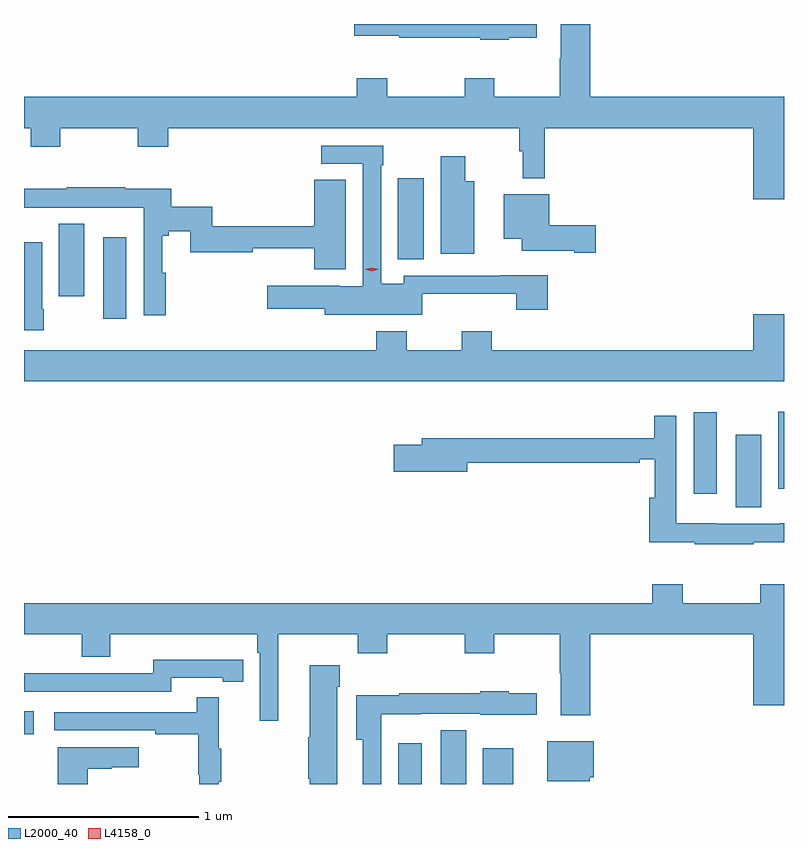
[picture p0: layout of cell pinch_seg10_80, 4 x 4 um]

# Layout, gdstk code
import gdstk
lib = gdstk.Library(unit=1e-6, precision=1e-09)
def R(c, l, rs):  # rectangles x0, y0, x1, y1
    for r in rs: c.add(gdstk.rectangle(r[:2], r[2:], *l))
def P(c, l, *ps):  # polygons
    for p in ps: c.add(gdstk.Polygon(p, *l))
L2000_40 = (2000, 40)
L4158_0 = (4158, 0)

pinch_seg10_80 = lib.new_cell('pinch_seg10_80')
R(pinch_seg10_80, L2000_40, [(774.53,1286.208,774.652,1286.422), (774.752,1286.208,774.886,1286.492), (774.974,1286.208,775.135,1286.395), (772.559,1286.469,772.609,1286.59), (776.306,1287.664,776.44,1288.045), (776.084,1287.735,776.206,1288.165), (776.528,1287.762,776.559,1288.168), (772.976,1288.656,773.098,1289.086), (772.742,1288.776,772.876,1289.156), (774.527,1288.969,774.664,1289.395)])
P(pinch_seg10_80, L2000_40, [(775.11,1290.135),(775.258,1290.135),(775.258,1290.208),(774.296,1290.208),(774.296,1290.145),(774.535,1290.145),(774.535,1290.135),(774.96,1290.135),(774.96,1290.125),(775.11,1290.125)],
  [(776.396,1289.286),(776.559,1289.286),(776.559,1289.824),(775.538,1289.824),(775.538,1290.208),(775.385,1290.208),(775.385,1290.029),(775.378,1290.029),(775.378,1289.824),(775.035,1289.824),(775.035,1289.923),(774.88,1289.923),(774.88,1289.824),(774.471,1289.824),(774.471,1289.923),(774.311,1289.923),(774.311,1289.824),(772.559,1289.824),(772.559,1289.66),(772.594,1289.66),(772.594,1289.561),(772.749,1289.561),(772.749,1289.66),(773.158,1289.66),(773.158,1289.561),(773.318,1289.561),(773.318,1289.66),(775.165,1289.66),(775.165,1289.537),(775.183,1289.537),(775.183,1289.397),(775.301,1289.397),(775.301,1289.66),(776.396,1289.66)],
  [(774.654,1288.787),(775.151,1288.787),(775.151,1288.704),(775.316,1288.704),(775.316,1288.885),(775.067,1288.885),(775.067,1288.884),(774.558,1288.884),(774.558,1288.84),(774.438,1288.84),(774.438,1289.465),(774.451,1289.465),(774.451,1289.568),(774.123,1289.568),(774.123,1289.472),(774.342,1289.472),(774.342,1288.828),(774.222,1288.828),(774.222,1288.831),(773.838,1288.831),(773.838,1288.709),(774.143,1288.709),(774.143,1288.679),(774.654,1288.679)],
  [(774.928,1289.38),(774.882,1289.38),(774.882,1289.512),(774.752,1289.512),(774.752,1289),(774.928,1289)],
  [(773.306,1288.898),(773.287,1288.898),(773.287,1289.093),(773.32,1289.093),(773.32,1289.116),(773.433,1289.116),(773.433,1289.008),(773.763,1289.008),(773.763,1289.027),(774.086,1289.027),(774.086,1288.916),(774.253,1288.916),(774.253,1289.387),(774.086,1289.387),(774.086,1289.144),(773.549,1289.144),(773.549,1289.245),(773.333,1289.245),(773.333,1289.34),(773.093,1289.34),(773.093,1289.35),(772.783,1289.35),(772.783,1289.34),(772.559,1289.34),(772.559,1289.24),(772.646,1289.24),(772.646,1289.241),(772.98,1289.241),(772.98,1289.24),(773.19,1289.24),(773.19,1288.674),(773.306,1288.674)],
  [(775.567,1289.15),(775.324,1289.15),(775.324,1289.311),(775.085,1289.311),(775.085,1289.078),(775.178,1289.078),(775.178,1289.015),(775.454,1289.015),(775.454,1289.003),(775.567,1289.003)],
  [(772.662,1288.708),(772.654,1288.708),(772.654,1289.059),(772.559,1289.059),(772.559,1288.596),(772.662,1288.596)],
  [(776.559,1288.681),(776.396,1288.681),(776.396,1288.492),(775.022,1288.492),(775.022,1288.591),(774.862,1288.591),(774.862,1288.492),(774.573,1288.492),(774.573,1288.591),(774.413,1288.591),(774.413,1288.492),(772.559,1288.492),(772.559,1288.328),(776.559,1288.328)],
  [(776.399,1287.481),(776.559,1287.481),(776.559,1287.581),(776.536,1287.581),(776.536,1287.579),(776.202,1287.579),(776.202,1287.58),(775.992,1287.58),(775.992,1288.147),(775.876,1288.147),(775.876,1288.027),(774.653,1288.027),(774.653,1287.993),(774.504,1287.993),(774.504,1287.851),(774.892,1287.851),(774.892,1287.898),(775.799,1287.898),(775.799,1287.917),(775.88,1287.917),(775.88,1287.715),(775.85,1287.715),(775.85,1287.481),(776.089,1287.481),(776.089,1287.471),(776.399,1287.471)],
  [(773.896,1286.996),(774.316,1286.996),(774.316,1286.897),(774.471,1286.897),(774.471,1286.996),(774.88,1286.996),(774.88,1286.897),(775.035,1286.897),(775.035,1286.996),(775.378,1286.996),(775.378,1286.792),(775.385,1286.792),(775.385,1286.571),(775.538,1286.571),(775.538,1286.996),(776.396,1286.996),(776.396,1286.622),(776.559,1286.622),(776.559,1287.259),(776.434,1287.259),(776.434,1287.16),(776.025,1287.16),(776.025,1287.259),(775.865,1287.259),(775.865,1287.16),(772.559,1287.16),(772.559,1286.996),(772.862,1286.996),(772.862,1286.879),(773.014,1286.879),(773.014,1286.996),(773.786,1286.996),(773.786,1286.9),(773.799,1286.9),(773.799,1286.541),(773.896,1286.541)],
  [(773.334,1286.766),(773.606,1286.766),(773.606,1286.746),(773.714,1286.746),(773.714,1286.862),(773.606,1286.862),(773.606,1286.863),(773.238,1286.863),(773.238,1286.79),(772.778,1286.79),(772.778,1286.792),(772.559,1286.792),(772.559,1286.694),(773.334,1286.694)],
  [(774.208,1286.72),(774.221,1286.72),(774.221,1286.833),(774.062,1286.833),(774.062,1286.453),(774.055,1286.453),(774.055,1286.236),(774.062,1286.236),(774.062,1286.208),(774.208,1286.208)],
  [(774.438,1286.576),(774.648,1286.576),(774.648,1286.577),(774.96,1286.577),(774.96,1286.573),(775.258,1286.573),(775.258,1286.686),(775.11,1286.686),(775.11,1286.695),(774.96,1286.695),(774.96,1286.686),(774.535,1286.686),(774.535,1286.676),(774.308,1286.676),(774.308,1286.441),(774.341,1286.441),(774.341,1286.208),(774.438,1286.208)],
  [(773.585,1286.219),(773.596,1286.219),(773.596,1286.393),(773.585,1286.393),(773.585,1286.665),(773.467,1286.665),(773.467,1286.586),(772.719,1286.586),(772.719,1286.49),(773.251,1286.49),(773.251,1286.47),(773.475,1286.47),(773.475,1286.256),(773.482,1286.256),(773.482,1286.208),(773.585,1286.208)],
  [(775.536,1286.244),(775.558,1286.244),(775.558,1286.434),(775.313,1286.434),(775.313,1286.222),(775.536,1286.222)],
  [(772.894,1286.287),(773.021,1286.287),(773.021,1286.297),(773.164,1286.297),(773.164,1286.401),(772.736,1286.401),(772.736,1286.208),(772.894,1286.208)])
P(pinch_seg10_80, L4158_0, [(774.39,1288.906),(774.356,1288.916),(774.355,1288.916),(774.356,1288.916),(774.39,1288.926),(774.425,1288.916),(774.425,1288.916),(774.425,1288.916)])

lib.write_gds('pinch_seg10_80.gds')
